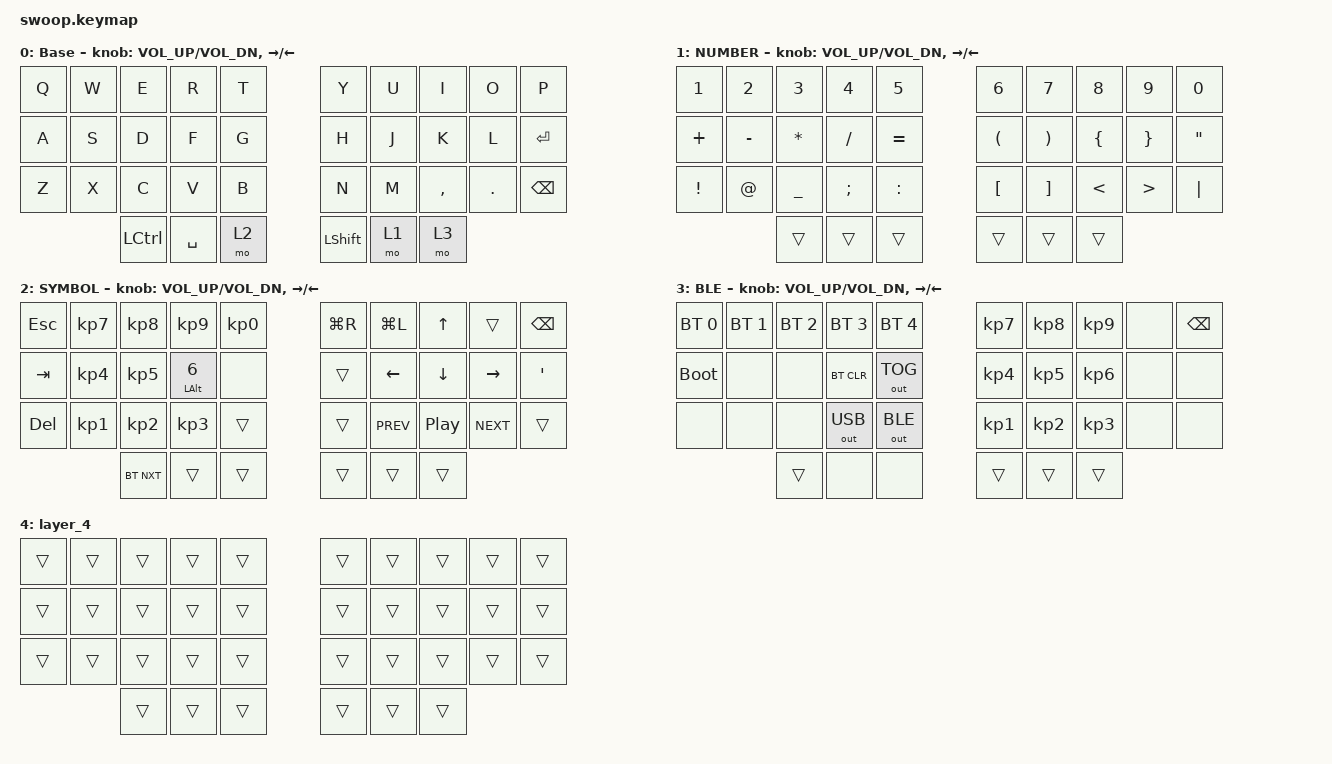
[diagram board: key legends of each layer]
/*
 * Copyright (c) 2020 duckyb
 *
 * SPDX-License-Identifier: MIT
 */

#include <behaviors.dtsi>
#include <dt-bindings/zmk/bt.h>
#include <dt-bindings/zmk/keys.h>
#include <dt-bindings/zmk/outputs.h>

/ {
    behaviors {
        tab_esc_ctrl: tab_esc_ctrl {
            compatible = "zmk,behavior-tap-dance";
            label = "TAB_ESC_CTRL";
            #binding-cells = <0>;
            bindings = <&mt LCTRL ESC>, <&kp TAB>;
        };

        gqt: global-quick-tap {
            compatible = "zmk,behavior-hold-tap";
            label = "GLOBAL_QUICK_TAP";
            bindings = <&kp>, <&kp>;

            #binding-cells = <2>;
            quick-tap-ms = <180>;
            tapping-term-ms = <200>;
            global-quick-tap;
            flavor = "tap-preferred";
        };

        ltq: ltq {
            compatible = "zmk,behavior-hold-tap";
            label = "LTQ";
            bindings = <&mo>, <&kp>;

            #binding-cells = <2>;
            global-quick-tap;
            tapping-term-ms = <200>;
            quick-tap-ms = <180>;
        };
    };

    combos {
        compatible = "zmk,combos";

        left_bkt {
            bindings = <&kp LBKT>;
            key-positions = <3 2>;
            timeout-ms = <50>;
        };

        right_bkt {
            bindings = <&kp RBKT>;
            key-positions = <6 7>;
            timeout-ms = <50>;
        };

        left_par {
            bindings = <&kp LEFT_PARENTHESIS>;
            key-positions = <12 13>;
            timeout-ms = <50>;
        };

        right_par {
            bindings = <&kp RIGHT_PARENTHESIS>;
            key-positions = <16 17>;
            timeout-ms = <50>;
        };

        left_brace {
            bindings = <&kp LEFT_BRACE>;
            key-positions = <23 22>;
            timeout-ms = <50>;
        };

        right_brace {
            bindings = <&kp RIGHT_BRACE>;
            key-positions = <26 27>;
            timeout-ms = <50>;
        };

        bac {
            bindings = <&kp BACKSLASH>;
            key-positions = <4 5>;
        };

        pipe {
            bindings = <&kp PIPE>;
            key-positions = <14 15>;
        };
    };

    keymap {
        compatible = "zmk,keymap";

        base {
            label = "Base";
            bindings = <
&kp Q  &kp W  &kp E      &kp R      &kp T    &kp Y           &kp U  &kp I      &kp O    &kp P
&kp A  &kp S  &kp D      &kp F      &kp G    &kp H           &kp J  &kp K      &kp L    &kp ENTER
&kp Z  &kp X  &kp C      &kp V      &kp B    &kp N           &kp M  &kp COMMA  &kp DOT  &kp BACKSPACE
              &kp LCTRL  &kp SPACE  &mo 2    &kp LEFT_SHIFT  &mo 1  &mo 3
            >;

            sensor-bindings = <&inc_dec_kp C_VOL_UP C_VOL_DN &inc_dec_kp RIGHT LEFT>;
        };

        number {
            label = "NUMBER";
            bindings = <
&kp N1           &kp N2       &kp N3        &kp N4    &kp N5       &kp N6                &kp N7                 &kp N8          &kp N9            &kp N0
&kp PLUS         &kp MINUS    &kp ASTERISK  &kp FSLH  &kp EQUAL    &kp LEFT_PARENTHESIS  &kp RIGHT_PARENTHESIS  &kp LEFT_BRACE  &kp RIGHT_BRACE   &kp DOUBLE_QUOTES
&kp EXCLAMATION  &kp AT_SIGN  &kp UNDER     &kp SEMI  &kp COLON    &kp LEFT_BRACKET      &kp RBKT               &kp LESS_THAN   &kp GREATER_THAN  &kp PIPE
                              &trans        &trans    &trans       &trans                &trans                 &trans
            >;

            sensor-bindings = <&inc_dec_kp C_VOL_UP C_VOL_DN &inc_dec_kp RIGHT LEFT>;
        };

        symbol {
            label = "SYMBOL";
            bindings = <
&kp ESC  &kp KP_NUMBER_7  &kp KP_NUMBER_8  &kp KP_NUMBER_9        &kp KP_NUMBER_0    &kp LG(R)  &kp LG(L)       &kp UP    &trans      &kp BACKSPACE
&kp TAB  &kp KP_NUMBER_4  &kp KP_NUMBER_5  &mt LEFT_ALT NUMBER_6  &none              &trans     &kp LEFT_ARROW  &kp DOWN  &kp RIGHT   &kp APOSTROPHE
&kp DEL  &kp KP_NUMBER_1  &kp KP_NUMBER_2  &kp KP_NUMBER_3        &trans             &trans     &kp C_PREV      &kp C_PP  &kp C_NEXT  &trans
                          &bt BT_NXT       &trans                 &trans             &trans     &trans          &trans
            >;

            sensor-bindings = <&inc_dec_kp C_VOL_UP C_VOL_DN &inc_dec_kp RIGHT LEFT>;
        };

        ble {
            label = "BLE";
            bindings = <
&bt BT_SEL 0  &bt BT_SEL 1  &bt BT_SEL 2  &bt BT_SEL 3  &bt BT_SEL 4    &kp KP_N7  &kp KP_N8  &kp KP_N9  &none  &kp BSPC
&bootloader   &none         &none         &bt BT_CLR    &out OUT_TOG    &kp KP_N4  &kp KP_N5  &kp KP_N6  &none  &none
&none         &none         &none         &out OUT_USB  &out OUT_BLE    &kp KP_N1  &kp KP_N2  &kp KP_N3  &none  &none
                            &trans        &none         &none           &trans     &trans     &trans
            >;

            sensor-bindings = <&inc_dec_kp C_VOL_UP C_VOL_DN &inc_dec_kp RIGHT LEFT>;
        };

        layer_4 {
            bindings = <
&trans  &trans  &trans  &trans  &trans    &trans  &trans  &trans  &trans  &trans
&trans  &trans  &trans  &trans  &trans    &trans  &trans  &trans  &trans  &trans
&trans  &trans  &trans  &trans  &trans    &trans  &trans  &trans  &trans  &trans
                &trans  &trans  &trans    &trans  &trans  &trans
            >;
        };
    };
};
